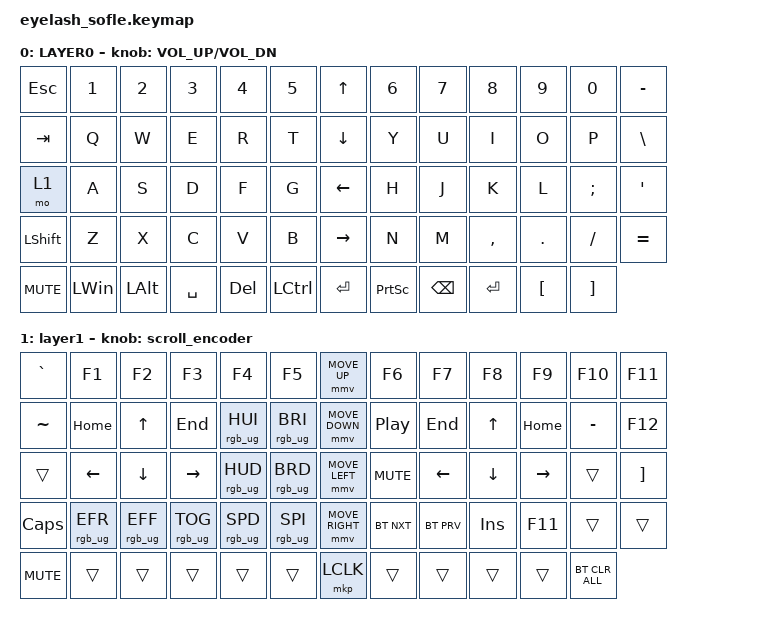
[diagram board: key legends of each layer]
#define ZMK_POINTING_DEFAULT_MOVE_VAL 1200  // 600
#define ZMK_POINTING_DEFAULT_SCRL_VAL 35    // 10

#include <input/processors.dtsi>
#include <zephyr/dt-bindings/input/input-event-codes.h>
#include <behaviors.dtsi>
#include <dt-bindings/zmk/bt.h>
#include <dt-bindings/zmk/keys.h>
#include <dt-bindings/zmk/pointing.h>
#include <dt-bindings/zmk/pointing.h>
#include <dt-bindings/zmk/pointing.h>
#include <dt-bindings/zmk/rgb.h>

/ {
    zip_scroll_scaler: zip_scroll_scaler {
        compatible = "zmk,input-processor-scaler";
        #input-processor-cells = <2>;
        type = <INPUT_EV_REL>;
        codes = <INPUT_REL_WHEEL INPUT_REL_HWHEEL>;
        track-remainders;
    };
};

&mmv_input_listener { input-processors = <&zip_xy_scaler 2 1>; };

&msc_input_listener { input-processors = <&zip_scroll_scaler 2 1>; };

&msc {
    acceleration-exponent = <0>;      // 0
    time-to-max-speed-ms = <0>;       // 300
    delay-ms = <0>;                   // 0
};

&mmv {
    time-to-max-speed-ms = <400>;
    acceleration-exponent = <1>;
};

/ {
    scroll_encoder: scroll_encoder {
        compatible = "zmk,behavior-sensor-rotate";
        #sensor-binding-cells = <0>;
        bindings = <&msc SCRL_DOWN>, <&msc SCRL_UP>;

        tap-ms = <30>;
    };

    behaviors {
    };

    keymap {
        compatible = "zmk,keymap";

        layer0 {
            bindings = <
&kp ESC     &kp N1        &kp N2        &kp N3     &kp N4      &kp N5       &kp UP_ARROW     &kp N6           &kp N7         &kp N8     &kp N9            &kp N0             &kp MINUS
&kp TAB     &kp Q         &kp W         &kp E      &kp R       &kp T        &kp DOWN_ARROW   &kp Y            &kp U          &kp I      &kp O             &kp P              &kp BSLH
&mo 1       &kp A         &kp S         &kp D      &kp F       &kp G        &kp LEFT_ARROW   &kp H            &kp J          &kp K      &kp L             &kp SEMI           &kp APOS
&kp LSHFT   &kp Z         &kp X         &kp C      &kp V       &kp B        &kp RIGHT_ARROW  &kp N            &kp M          &kp COMMA  &kp DOT           &kp FSLH           &kp EQUAL
&kp C_MUTE  &kp LEFT_WIN  &kp LEFT_ALT  &kp SPACE  &kp DELETE  &kp LCTRL    &kp ENTER        &kp PRINTSCREEN  &kp BACKSPACE  &kp ENTER  &kp LEFT_BRACKET  &kp RIGHT_BRACKET
            >;

            sensor-bindings = <&inc_dec_kp C_VOLUME_UP C_VOL_DN>;
            display-name = "LAYER0";
        };

        layer_1 {
            bindings = <
&kp GRAVE   &kp F1           &kp F2           &kp F3           &kp F4           &kp F5             &mmv MOVE_UP     &kp F6      &kp F7      &kp F8      &kp F9     &kp F10         &kp F11
&kp TILDE   &kp HOME         &kp UP_ARROW     &kp END          &rgb_ug RGB_HUI  &rgb_ug RGB_BRI    &mmv MOVE_DOWN   &kp C_PP    &kp END     &kp UP      &kp HOME   &kp MINUS       &kp F12
&trans      &kp LEFT         &kp DOWN_ARROW   &kp RIGHT        &rgb_ug RGB_HUD  &rgb_ug RGB_BRD    &mmv MOVE_LEFT   &kp C_MUTE  &kp LEFT    &kp DOWN    &kp RIGHT  &trans          &kp RIGHT_BRACKET
&kp CAPS    &rgb_ug RGB_EFR  &rgb_ug RGB_EFF  &rgb_ug RGB_TOG  &rgb_ug RGB_SPD  &rgb_ug RGB_SPI    &mmv MOVE_RIGHT  &bt BT_NXT  &bt BT_PRV  &kp INSERT  &kp F11    &trans          &trans
&kp C_MUTE  &trans           &trans           &trans           &trans           &trans             &mkp LCLK        &trans      &trans      &trans      &trans     &bt BT_CLR_ALL
            >;

            display-name = "layer1";
            sensor-bindings = <&scroll_encoder>;
        };
    };
};
